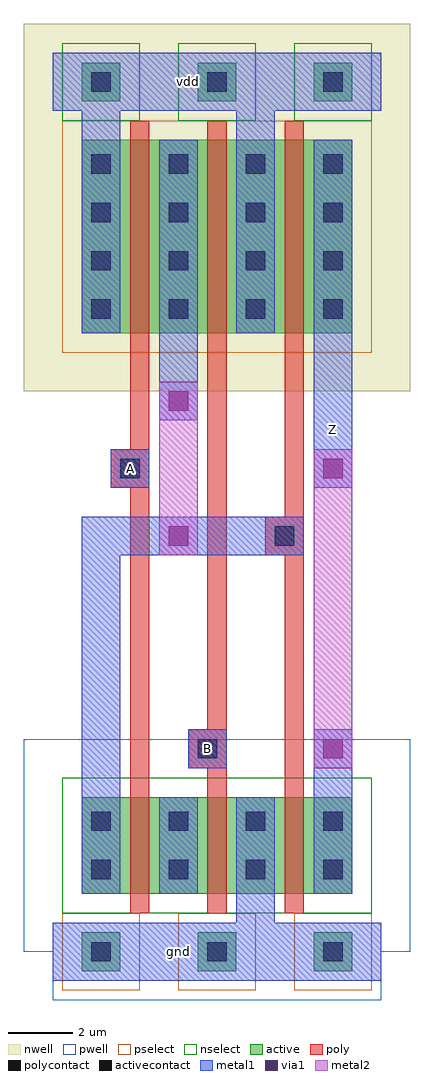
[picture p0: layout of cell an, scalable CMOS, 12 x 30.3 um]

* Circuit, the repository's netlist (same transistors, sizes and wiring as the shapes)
* FILE: an.sp


* SPICE netlist for "an" generated by MMI_SUE5.6.37 on Fri Dec 07 
*+ 10:39:39 CST 2018.

.SUBCKT an A B Z 
M_1 net_1 A vdd vdd p W='6*1u' L='0.6*1u' 
M_2 vdd B net_1 vdd p W='6*1u' L='0.6*1u' 
M_3 net_1 A net_2 gnd n W='3*1u' L='0.6*1u' 
M_4 net_2 B gnd gnd n W='3*1u' L='0.6*1u' 
M_5 Z net_1 gnd gnd n W='3*1u' L='0.6*1u' 
M_6 Z net_1 vdd vdd p W='6*1u' L='0.6*1u' 
.ENDS	$ an

.GLOBAL gnd vdd

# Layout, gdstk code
import gdstk
lib = gdstk.Library(unit=1e-6, precision=1e-09)
def R(c, l, rs):  # rectangles x0, y0, x1, y1
    for r in rs: c.add(gdstk.rectangle(r[:2], r[2:], *l))
def A(c, l, x, y, w, h, nx, ny, dx, dy):  # array of equal rectangles
    R(c, l, [(x+i*dx, y+j*dy, x+i*dx+w, y+j*dy+h) for i in range(nx) for j in range(ny)])
pwell = (41, 0)
nwell = (42, 0)
active = (43, 0)
pselect = (44, 0)
nselect = (45, 0)
poly = (46, 0)
polycontact = (47, 0)
activecontact = (48, 0)
metal1 = (49, 0)
via1 = (50, 0)
metal2 = (51, 0)

c_an = lib.new_cell('an')
R(c_an, pwell, [(-6.3,-21,3.9,-19.5), (-7.2,-19.5,4.8,-12.9)])
R(c_an, nwell, [(-7.2,-2.1,4.8,9.3)])
A(c_an, active, -5.4, -20.1, 1.2, 1.2, 3, 2, 3.6, 27)
R(c_an, active, [(-5.4,-17.7,3,-14.7), (-5.4,-0.3,3,5.7)])
A(c_an, pselect, -6, -20.7, 2.4, 2.4, 3, 1, 3.6, 0)
R(c_an, pselect, [(-6,-0.9,3.6,6.3)])
A(c_an, nselect, -6, 6.3, 2.4, 2.4, 3, 1, 3.6, 0)
R(c_an, nselect, [(-6,-18.3,3.6,-14.1)])
R(c_an, poly, [(-3.9,-18.3,-3.3,-5.1), (-1.5,-18.3,-0.9,-13.8), (0.9,-18.3,1.5,-7.2), (-2.1,-13.8,-0.9,-12.6), (-1.5,-12.6,-0.9,6.3), (0.3,-7.2,1.5,-6), (0.9,-6,1.5,6.3), (-4.5,-5.1,-3.3,-3.9), (-3.9,-3.9,-3.3,6.3)])
R(c_an, polycontact, [(-1.8,-13.5,-1.2,-12.9), (0.6,-6.9,1.2,-6.3), (-4.2,-4.8,-3.6,-4.2)])
A(c_an, activecontact, -5.1, -19.8, 0.6, 0.6, 3, 2, 3.6, 27)
A(c_an, activecontact, -5.1, -17.25, 0.6, 0.6, 4, 2, 2.4, 1.5)
A(c_an, activecontact, -5.1, 0.15, 0.6, 0.6, 4, 4, 2.4, 1.5)
R(c_an, metal1, [(-6.3,-20.4,3.9,-18.6), (-0.6,-18.6,0.6,-14.7), (-5.4,-17.7,-4.2,-7.2), (-3,-17.7,-1.8,-14.7), (1.8,-17.7,3,-12.6), (-2.1,-13.8,-0.9,-12.6), (-5.4,-7.2,1.5,-6), (-4.5,-5.1,-3.3,-3.9), (1.8,-5.1,3,5.7), (-3,-3,-1.8,5.7), (-5.4,-0.3,-4.2,6.6), (-0.6,-0.3,0.6,6.6), (-6.3,6.6,3.9,8.4)])
R(c_an, via1, [(2.1,-13.5,2.7,-12.9), (-2.7,-6.9,-2.1,-6.3), (2.1,-4.8,2.7,-4.2), (-2.7,-2.7,-2.1,-2.1)])
R(c_an, metal2, [(1.8,-13.8,3,-3.9), (-3,-7.2,-1.8,-1.8)])
c_an.add(gdstk.Label('A', (-3.9,-4.5), layer=49, texttype=0))
c_an.add(gdstk.Label('vdd', (-2.1,7.5), layer=49, texttype=0))
c_an.add(gdstk.Label('B', (-1.5,-13.2), layer=49, texttype=0))
c_an.add(gdstk.Label('gnd', (-2.4,-19.5), layer=49, texttype=0))
c_an.add(gdstk.Label('Z', (2.4,-3.3), layer=49, texttype=0))

lib.write_gds('an.gds')
